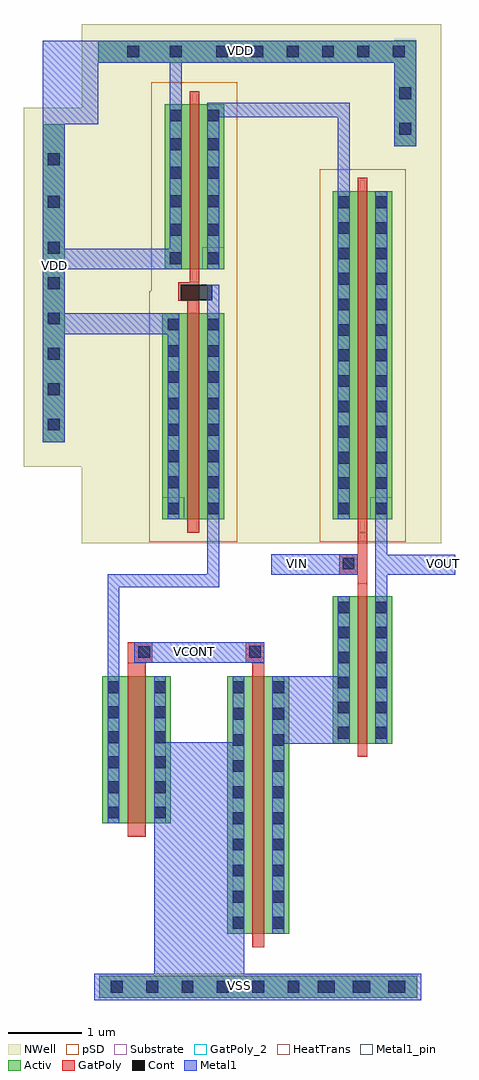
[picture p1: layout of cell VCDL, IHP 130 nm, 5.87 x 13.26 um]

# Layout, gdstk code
from math import pi, radians
import gdstk
lib = gdstk.Library(unit=1e-6, precision=1e-09)
def R(c, l, rs):  # rectangles x0, y0, x1, y1
    for r in rs: c.add(gdstk.rectangle(r[:2], r[2:], *l))
def A(c, l, x, y, w, h, nx, ny, dx, dy):  # array of equal rectangles
    R(c, l, [(x+i*dx, y+j*dy, x+i*dx+w, y+j*dy+h) for i in range(nx) for j in range(ny)])
Activ = (1, 0)
GatPoly = (5, 0)
GatPoly_2 = (5, 2)
Cont = (6, 0)
Metal1 = (8, 0)
Metal1_pin = (8, 2)
pSD = (14, 0)
NWell = (31, 0)
Substrate = (40, 0)
HeatTrans = (51, 0)

nmos = lib.new_cell('nmos')
R(nmos, Activ, [(0,0,0.3,0.3), (0,0,0.81,2), (0.51,0,0.81,0.3)])
R(nmos, GatPoly, [(0.34,-0.18,0.47,2.18)])
R(nmos, GatPoly_2, [(0.34,-0.18,0.47,2.18)])
A(nmos, Cont, 0.07, 0.07, 0.16, 0.16, 1, 6, 0, 0.34)
A(nmos, Cont, 0.58, 0.07, 0.16, 0.16, 1, 6, 0, 0.34)
R(nmos, Metal1, [(0.07,0,0.23,2), (0.58,0,0.74,2)])
R(nmos, Metal1_pin, [(0.07,0,0.23,2), (0.58,0,0.74,2)])
R(nmos, HeatTrans, [(0.34,-0.18,0.47,2.18)])
nmos.add(gdstk.Label('nmos', (0.405,1), layer=63, texttype=0))
nmos.add(gdstk.Label('nmos', (0.405,1), layer=51, texttype=0))

pmos_1 = lib.new_cell('pmos$1')
R(pmos_1, Activ, [(0,0,0.3,0.3), (0,0,0.84,2.8), (0.54,0,0.84,0.3)])
R(pmos_1, GatPoly, [(0.34,-0.18,0.5,2.98), (0.34,-0.18,0.5,2.98)])
A(pmos_1, Cont, 0.07, 0.07, 0.16, 0.16, 1, 3, 0, 0.355)
A(pmos_1, Cont, 0.61, 0.07, 0.16, 0.16, 1, 3, 0, 0.355)
R(pmos_1, Cont, [(0.07,1.14,0.23,1.3), (0.61,1.14,0.77,1.3), (0.07,1.495,0.23,1.655), (0.61,1.495,0.77,1.655), (0.07,1.855,0.23,2.015), (0.61,1.855,0.77,2.015), (0.07,2.21,0.23,2.37), (0.61,2.21,0.77,2.37), (0.07,2.57,0.23,2.73), (0.61,2.57,0.77,2.73)])
R(pmos_1, Metal1, [(0.07,0,0.23,2.8), (0.07,0,0.23,2.8), (0.61,0,0.77,2.8), (0.61,0,0.77,2.8)])
R(pmos_1, pSD, [(-0.18,-0.3,1.02,3.1)])
R(pmos_1, NWell, [(-0.31,-0.31,1.15,3.11)])
R(pmos_1, Substrate, [(0.54,0,0.84,0.3)])
R(pmos_1, HeatTrans, [(0.34,-0.18,0.5,2.98)])
pmos_1.add(gdstk.Label('pmos', (0.42,1.4), layer=63, texttype=0))
pmos_1.add(gdstk.Label('pmos', (0.42,1.4), layer=51, texttype=0))

pmos = lib.new_cell('pmos')
R(pmos, Activ, [(0,0,0.3,0.3), (0,0,0.81,4.46), (0.51,0,0.81,0.3)])
R(pmos, GatPoly, [(0.34,-0.18,0.47,4.64), (0.34,-0.18,0.47,4.64)])
A(pmos, Cont, 0.07, 0.07, 0.16, 0.16, 1, 3, 0, 0.345)
A(pmos, Cont, 0.58, 0.07, 0.16, 0.16, 1, 3, 0, 0.345)
A(pmos, Cont, 0.07, 1.11, 0.16, 0.16, 1, 3, 0, 0.345)
A(pmos, Cont, 0.58, 1.11, 0.16, 0.16, 1, 3, 0, 0.345)
A(pmos, Cont, 0.07, 2.15, 0.16, 0.16, 1, 3, 0, 0.345)
A(pmos, Cont, 0.58, 2.15, 0.16, 0.16, 1, 3, 0, 0.345)
A(pmos, Cont, 0.07, 3.19, 0.16, 0.16, 1, 3, 0, 0.345)
A(pmos, Cont, 0.58, 3.19, 0.16, 0.16, 1, 3, 0, 0.345)
R(pmos, Cont, [(0.07,4.23,0.23,4.39), (0.58,4.23,0.74,4.39)])
R(pmos, Metal1, [(0.07,0,0.23,4.46), (0.07,0,0.23,4.46), (0.58,0,0.74,4.46), (0.58,0,0.74,4.46)])
R(pmos, pSD, [(-0.18,-0.3,0.99,4.76)])
R(pmos, NWell, [(-0.31,-0.31,1.12,4.77)])
R(pmos, Substrate, [(0.51,0,0.81,0.3)])
R(pmos, HeatTrans, [(0.34,-0.18,0.47,4.64)])
pmos.add(gdstk.Label('pmos', (0.405,2.23), layer=63, texttype=0))
pmos.add(gdstk.Label('pmos', (0.405,2.23), layer=51, texttype=0))

pmos_2 = lib.new_cell('pmos$2')
R(pmos_2, Activ, [(0,0,0.3,0.3), (0,0,0.81,2.24), (0.51,0,0.81,0.3)])
R(pmos_2, GatPoly, [(0.34,-0.18,0.47,2.42), (0.34,-0.18,0.47,2.42)])
A(pmos_2, Cont, 0.07, 1.23, 0.16, 0.16, 1, 3, 0, 0.39)
A(pmos_2, Cont, 0.58, 1.23, 0.16, 0.16, 1, 3, 0, 0.39)
R(pmos_2, Cont, [(0.07,0.07,0.23,0.23), (0.58,0.07,0.74,0.23), (0.07,0.455,0.23,0.615), (0.58,0.455,0.74,0.615), (0.07,0.845,0.23,1.005), (0.58,0.845,0.74,1.005)])
R(pmos_2, Metal1, [(0.07,0,0.23,2.24), (0.07,0,0.23,2.24), (0.58,0,0.74,2.24), (0.58,0,0.74,2.24)])
R(pmos_2, pSD, [(-0.18,-0.3,0.99,2.54)])
R(pmos_2, NWell, [(-0.31,-0.31,1.12,2.55)])
R(pmos_2, Substrate, [(0.51,0,0.81,0.3)])
R(pmos_2, HeatTrans, [(0.34,-0.18,0.47,2.42)])
pmos_2.add(gdstk.Label('pmos', (0.405,1.12), layer=63, texttype=0))
pmos_2.add(gdstk.Label('pmos', (0.405,1.12), layer=51, texttype=0))

nmos_2 = lib.new_cell('nmos$2')
R(nmos_2, Activ, [(0,0,0.3,0.3), (0,0,0.93,2), (0.63,0,0.93,0.3)])
R(nmos_2, GatPoly, [(0.34,-0.18,0.59,2.18)])
R(nmos_2, GatPoly_2, [(0.34,-0.18,0.59,2.18)])
A(nmos_2, Cont, 0.07, 0.07, 0.16, 0.16, 1, 6, 0, 0.34)
A(nmos_2, Cont, 0.7, 0.07, 0.16, 0.16, 1, 6, 0, 0.34)
R(nmos_2, Metal1, [(0.07,0,0.23,2), (0.7,0,0.86,2)])
R(nmos_2, Metal1_pin, [(0.07,0,0.23,2), (0.7,0,0.86,2)])
R(nmos_2, HeatTrans, [(0.34,-0.18,0.59,2.18)])
nmos_2.add(gdstk.Label('nmos', (0.465,1), layer=63, texttype=0))
nmos_2.add(gdstk.Label('nmos', (0.465,1), layer=51, texttype=0))

nmos_1 = lib.new_cell('nmos$1')
R(nmos_1, Activ, [(0,0,0.3,0.3), (0,0,0.84,3.5), (0.54,0,0.84,0.3)])
R(nmos_1, GatPoly, [(0.34,-0.18,0.5,3.68)])
R(nmos_1, GatPoly_2, [(0.34,-0.18,0.5,3.68)])
A(nmos_1, Cont, 0.07, 0.07, 0.16, 0.16, 1, 9, 0, 0.355)
A(nmos_1, Cont, 0.61, 0.07, 0.16, 0.16, 1, 9, 0, 0.355)
R(nmos_1, Cont, [(0.07,3.27,0.23,3.43), (0.61,3.27,0.77,3.43)])
R(nmos_1, Metal1, [(0.07,0,0.23,3.5), (0.61,0,0.77,3.5)])
R(nmos_1, Metal1_pin, [(0.07,0,0.23,3.5), (0.61,0,0.77,3.5)])
R(nmos_1, HeatTrans, [(0.34,-0.18,0.5,3.68)])
nmos_1.add(gdstk.Label('nmos', (0.42,1.75), layer=63, texttype=0))
nmos_1.add(gdstk.Label('nmos', (0.42,1.75), layer=51, texttype=0))

vcdl = lib.new_cell('VCDL')
A(vcdl, Activ, 6.147, 15.161, 0.3, 1.44, 1, 3, 0, 1.44)
R(vcdl, Activ, [(6.916,7.611,8.356,7.911), (6.916,7.611,8.356,7.911), (8.356,7.611,9.796,7.911), (8.356,7.611,9.796,7.911), (9.796,7.611,11.236,7.911), (9.796,7.611,11.236,7.911), (10.925,19.18,11.225,20.62), (6.9,20.315,8.341,20.615), (8.345,20.317,9.785,20.617), (9.785,20.317,11.225,20.617)])
R(vcdl, GatPoly, [(7.301,12.16,7.64,12.439), (8.909,12.16,9.159,12.439), (10.43,13.244,10.56,13.93), (10.18,13.359,10.43,13.638), (7.989,17.079,8.275,17.33)])
R(vcdl, Cont, [(7.076,7.681,7.236,7.841), (7.076,7.681,7.236,7.841), (7.076,7.681,7.236,7.841), (7.076,7.681,7.236,7.841), (7.556,7.681,7.716,7.841), (7.556,7.681,7.716,7.841), (7.556,7.681,7.716,7.841), (7.556,7.681,7.716,7.841), (8.036,7.681,8.196,7.841), (8.036,7.681,8.196,7.841), (8.036,7.681,8.196,7.841), (8.036,7.681,8.196,7.841), (8.516,7.681,8.676,7.841), (8.516,7.681,8.676,7.841), (8.516,7.681,8.676,7.841), (8.516,7.681,8.676,7.841), (8.996,7.681,9.156,7.841), (8.996,7.681,9.156,7.841), (8.996,7.681,9.156,7.841), (8.996,7.681,9.156,7.841), (9.476,7.681,9.636,7.841), (9.476,7.681,9.636,7.841), (9.476,7.681,9.636,7.841), (9.476,7.681,9.636,7.841), (9.883,7.681,10.043,7.841), (9.883,7.681,10.043,7.841), (9.883,7.681,10.043,7.841), (9.883,7.681,10.043,7.841), (9.956,7.681,10.116,7.841), (9.956,7.681,10.116,7.841), (9.956,7.681,10.116,7.841), (9.956,7.681,10.116,7.841), (10.363,7.681,10.523,7.841), (10.363,7.681,10.523,7.841), (10.363,7.681,10.523,7.841), (10.363,7.681,10.523,7.841), (10.436,7.681,10.596,7.841), (10.436,7.681,10.596,7.841), (10.436,7.681,10.596,7.841), (10.436,7.681,10.596,7.841), (10.843,7.681,11.003,7.841), (10.843,7.681,11.003,7.841), (10.843,7.681,11.003,7.841), (10.843,7.681,11.003,7.841), (10.916,7.681,11.076,7.841), (10.916,7.681,11.076,7.841), (10.916,7.681,11.076,7.841), (10.916,7.681,11.076,7.841), (7.45,12.23,7.61,12.39), (8.954,12.232,9.114,12.392), (10.225,13.431,10.385,13.591), (6.217,15.321,6.377,15.481), (6.217,15.321,6.377,15.481), (6.217,15.801,6.377,15.961), (6.217,15.801,6.377,15.961), (6.217,16.281,6.377,16.441), (6.217,16.281,6.377,16.441), (6.217,16.761,6.377,16.921), (6.217,16.761,6.377,16.921), (8.025,17.09,8.455,17.298), (8.07,17.115,8.23,17.275), (6.217,17.241,6.377,17.401), (6.217,17.241,6.377,17.401), (6.217,17.721,6.377,17.881), (6.217,18.348,6.377,18.508), (6.217,18.348,6.377,18.508), (6.217,18.926,6.377,19.086), (10.995,19.34,11.155,19.5), (10.995,19.34,11.155,19.5), (10.995,19.82,11.155,19.98), (10.995,19.82,11.155,19.98), (7.3,20.387,7.46,20.547), (7.878,20.387,8.038,20.547), (7.878,20.387,8.038,20.547), (8.505,20.387,8.665,20.547), (8.985,20.387,9.145,20.547), (8.985,20.387,9.145,20.547), (9.465,20.387,9.625,20.547), (9.465,20.387,9.625,20.547), (9.945,20.387,10.105,20.547), (9.945,20.387,10.105,20.547), (10.425,20.387,10.585,20.547), (10.425,20.387,10.585,20.547), (10.905,20.387,11.065,20.547), (10.905,20.387,11.065,20.547)])
R(vcdl, Metal1, [(6.846,7.581,11.291,7.941), (6.846,7.581,11.291,7.941), (7.661,7.941,8.889,11.085), (9.269,11.064,10.32,11.98), (7.031,11.98,7.191,13.335), (7.39,12.16,9.159,12.439), (10.67,13.064,10.83,14.11), (7.031,13.19,8.545,13.365), (8.385,13.19,8.545,14.11), (9.253,13.359,10.43,13.638), (10.67,13.36,11.755,13.633), (6.147,15.159,6.447,19.482), (6.377,16.625,8.005,16.91), (8.385,16.91,8.545,17.298), (6.447,17.51,8.035,17.785), (10.16,18.57,10.32,19.75), (10.925,19.18,11.227,20.617), (6.147,19.482,6.904,20.617), (8.385,19.574,10.32,19.774), (7.875,19.75,8.038,20.547), (6.904,20.317,11.227,20.617)])
R(vcdl, Metal1_pin, [(8.761,7.716,8.891,7.846), (8.145,12.25,8.275,12.38), (11.525,13.44,11.655,13.57), (9.54,13.445,9.67,13.575), (6.242,17.491,6.372,17.621), (8.765,20.415,8.895,20.545)])
R(vcdl, pSD, [(6.846,7.581,8.426,7.941), (8.286,7.581,11.291,7.941)])
R(vcdl, NWell, [(6.681,13.79,11.561,20.06), (5.89,14.825,6.672,19.705), (6.681,20.06,11.561,20.842)])
vcdl.add(gdstk.Reference(nmos, (10.09,11.064)))
vcdl.add(gdstk.Reference(pmos_1, (8.615,14.11), rotation=pi, x_reflection=True))
vcdl.add(gdstk.Reference(pmos, (10.09,14.11)))
vcdl.add(gdstk.Reference(pmos_2, (7.805,17.51)))
vcdl.add(gdstk.Reference(nmos_2, (6.961,9.98)))
vcdl.add(gdstk.Reference(nmos_1, (8.659,8.48)))
vcdl.add(gdstk.Label('VSS', (8.826,7.781), layer=8, texttype=25))
vcdl.add(gdstk.Label('VSS', (8.826,7.781), layer=8, texttype=25))
vcdl.add(gdstk.Label('VDD', (8.83,20.48), layer=8, texttype=25))
vcdl.add(gdstk.Label('VIN', (9.605,13.51), layer=8, texttype=25))
vcdl.add(gdstk.Label('VOUT', (11.59,13.505), layer=8, texttype=25))
vcdl.add(gdstk.Label('VCONT', (8.21,12.315), layer=8, texttype=25))
vcdl.add(gdstk.Label('VDD', (6.307,17.556), layer=8, texttype=25))

lib.write_gds('VCDL.gds')
